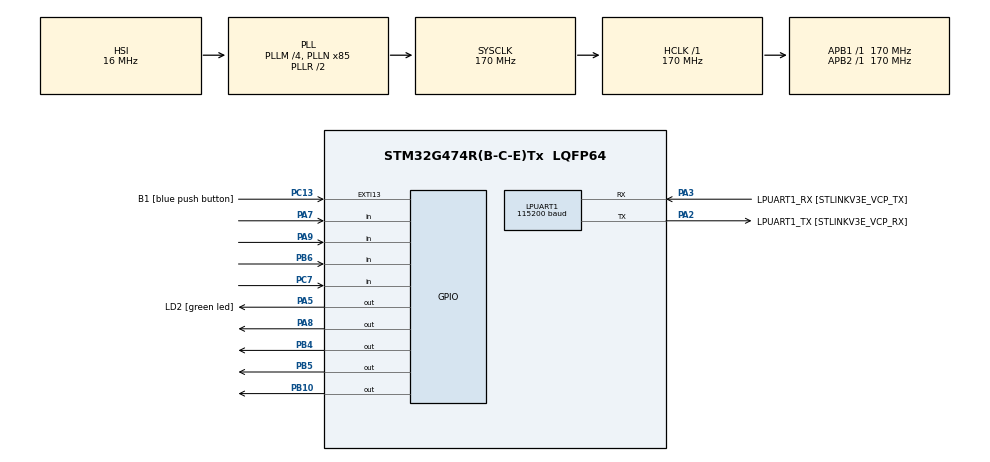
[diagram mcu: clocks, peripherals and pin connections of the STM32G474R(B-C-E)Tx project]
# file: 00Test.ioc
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LPUART1.BaudRate=115200
LPUART1.WordLength=UART_WORDLENGTH_8B
Mcu.Family=STM32G4
Mcu.Name=STM32G474R(B-C-E)Tx
Mcu.Package=LQFP64
NVIC.EXTI15_10_IRQn=true\:0\:0\:false\:false\:true\:true\:true\:true
NVIC.PriorityGroup=NVIC_PRIORITYGROUP_4
PA13.GPIO_Label=T_SWDIO
PA13.Mode=Serial_Wire
PA13.Signal=SYS_JTMS-SWDIO
PA14.GPIO_Label=T_SWCLK
PA14.Mode=Serial_Wire
PA14.Signal=SYS_JTCK-SWCLK
PA2.GPIO_Label=LPUART1_TX [STLINKV3E_VCP_RX]
PA2.Mode=Asynchronous
PA2.Signal=LPUART1_TX
PA3.GPIO_Label=LPUART1_RX [STLINKV3E_VCP_TX]
PA3.Mode=Asynchronous
PA3.Signal=LPUART1_RX
PA5.GPIO_Label=LD2 [green led]
PA5.GPIO_ModeDefaultOutputPP=GPIO_MODE_OUTPUT_PP
PA5.GPIO_PuPd=GPIO_NOPULL
PA5.Signal=GPIO_Output
PA7.GPIO_PuPd=GPIO_PULLUP
PA7.Signal=GPIO_Input
PA8.GPIO_ModeDefaultOutputPP=GPIO_MODE_OUTPUT_OD
PA8.GPIO_PuPd=GPIO_NOPULL
PA8.Signal=GPIO_Output
PA9.GPIO_PuPd=GPIO_PULLUP
PA9.Signal=GPIO_Input
PB10.GPIO_ModeDefaultOutputPP=GPIO_MODE_OUTPUT_OD
PB10.GPIO_PuPd=GPIO_NOPULL
PB10.Signal=GPIO_Output
PB3.GPIO_Label=T_SWO
PB3.Signal=SYS_JTDO-SWO
PB4.GPIO_ModeDefaultOutputPP=GPIO_MODE_OUTPUT_OD
PB4.GPIO_PuPd=GPIO_NOPULL
PB4.Signal=GPIO_Output
PB5.GPIO_ModeDefaultOutputPP=GPIO_MODE_OUTPUT_OD
PB5.GPIO_PuPd=GPIO_NOPULL
PB5.Signal=GPIO_Output
PB6.GPIO_PuPd=GPIO_PULLUP
PB6.Signal=GPIO_Input
PC13.GPIO_Label=B1 [blue push button]
PC13.Signal=GPXTI13
PC14-OSC32_IN.Mode=LSE-External-Oscillator
PC14-OSC32_IN.Signal=RCC_OSC32_IN
PC15-OSC32_OUT.Mode=LSE-External-Oscillator
PC15-OSC32_OUT.Signal=RCC_OSC32_OUT
PC7.GPIO_PuPd=GPIO_PULLUP
PC7.Signal=GPIO_Input
PF0-OSC_IN.Mode=HSE-External-Oscillator
PF0-OSC_IN.Signal=RCC_OSC_IN
PF1-OSC_OUT.Mode=HSE-External-Oscillator
PF1-OSC_OUT.Signal=RCC_OSC_OUT
ProjectManager.HeapSize=0x200
ProjectManager.StackSize=0x400
ProjectManager.TargetToolchain=STM32CubeIDE
RCC.ADC12Freq_Value=170000000
RCC.ADC345Freq_Value=170000000
RCC.AHBFreq_Value=170000000
RCC.APB1Freq_Value=170000000
RCC.APB1TimFreq_Value=170000000
RCC.APB2Freq_Value=170000000
RCC.APB2TimFreq_Value=170000000
RCC.CortexFreq_Value=170000000
RCC.EXTERNAL_CLOCK_VALUE=12288000
RCC.HCLKFreq_Value=170000000
RCC.HSE_VALUE=24000000
RCC.HSI48_VALUE=48000000
RCC.HSI_VALUE=16000000
RCC.PLLM=RCC_PLLM_DIV4
RCC.PLLN=85
RCC.RTCClockSelection=RCC_RTCCLKSOURCE_LSE
RCC.SYSCLKFreq_VALUE=170000000
RCC.SYSCLKSource=RCC_SYSCLKSOURCE_PLLCLK
RCC.USBFreq_Value=170000000
RCC.VCOOutputFreq_Value=340000000
VP_SYS_VS_DBSignals.Mode=DisableDeadBatterySignals
board=NUCLEO-G474RE

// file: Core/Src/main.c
/* USER CODE BEGIN Header */
/**
  ******************************************************************************
  * @file           : main.c
  * @brief          : Main program body
  ******************************************************************************
  * @attention
  *
  * Copyright (c) 2023 STMicroelectronics.
  * All rights reserved.
  *
  * This software is licensed under terms that can be found in the LICENSE file
  * in the root directory of this software component.
  * If no LICENSE file comes with this software, it is provided AS-IS.
  *
  ******************************************************************************
  */
/* USER CODE END Header */
#include "main.h"

UART_HandleTypeDef hlpuart1;

/* USER CODE BEGIN PV */
struct _ButMtx_Struct
{
GPIO_TypeDef* Port;
uint16_t Pin;
};

struct _ButMtx_Struct BMX_L[4] = {
{GPIOA,GPIO_PIN_9},
{GPIOC,GPIO_PIN_7},
{GPIOB,GPIO_PIN_6},
{GPIOA,GPIO_PIN_7}
};

struct _ButMtx_Struct BMX_R[4] = {
{GPIOB,GPIO_PIN_5},
{GPIOB,GPIO_PIN_4},
{GPIOB,GPIO_PIN_10},
{GPIOA,GPIO_PIN_8}
};

uint16_t ButtonState = 0;

/* USER CODE END PV */

void SystemClock_Config(void);
static void MX_GPIO_Init(void);
static void MX_LPUART1_UART_Init(void);
/* USER CODE BEGIN PFP */
void ButtonMatrixRead();

/* USER CODE END PFP */

int main(void)
{

  /* MCU Configuration--------------------------------------------------------*/

  /* Reset of all peripherals, Initializes the Flash interface and the Systick. */
  HAL_Init();

  /* Configure the system clock */
  SystemClock_Config();

  /* Initialize all configured peripherals */
  MX_GPIO_Init();
  MX_LPUART1_UART_Init();

  /* Infinite loop */
  while (1)
  {

    /* USER CODE BEGIN 3 */
  static uint32_t BTMX_TimeStamp = 0;
  if(HAL_GetTick() > BTMX_TimeStamp)
  {
  BTMX_TimeStamp = HAL_GetTick() + 25; //next scan in 25 ms
  ButtonMatrixRead();
  }
  }
  /* USER CODE END 3 */
}

void SystemClock_Config(void)
{
  RCC_OscInitTypeDef RCC_OscInitStruct = {0};
  RCC_ClkInitTypeDef RCC_ClkInitStruct = {0};

  /** Configure the main internal regulator output voltage
  */
  HAL_PWREx_ControlVoltageScaling(PWR_REGULATOR_VOLTAGE_SCALE1_BOOST);

  /** Initializes the RCC Oscillators according to the specified parameters
  * in the RCC_OscInitTypeDef structure.
  */
  RCC_OscInitStruct.OscillatorType = RCC_OSCILLATORTYPE_HSI;
  RCC_OscInitStruct.HSIState = RCC_HSI_ON;
  RCC_OscInitStruct.HSICalibrationValue = RCC_HSICALIBRATION_DEFAULT;
  RCC_OscInitStruct.PLL.PLLState = RCC_PLL_ON;
  RCC_OscInitStruct.PLL.PLLSource = RCC_PLLSOURCE_HSI;
  RCC_OscInitStruct.PLL.PLLM = RCC_PLLM_DIV4;
  RCC_OscInitStruct.PLL.PLLN = 85;
  RCC_OscInitStruct.PLL.PLLP = RCC_PLLP_DIV2;
  RCC_OscInitStruct.PLL.PLLQ = RCC_PLLQ_DIV2;
  RCC_OscInitStruct.PLL.PLLR = RCC_PLLR_DIV2;
  if (HAL_RCC_OscConfig(&RCC_OscInitStruct) != HAL_OK)
  {
    Error_Handler();
  }

  /** Initializes the CPU, AHB and APB buses clocks
  */
  RCC_ClkInitStruct.ClockType = RCC_CLOCKTYPE_HCLK|RCC_CLOCKTYPE_SYSCLK
                              |RCC_CLOCKTYPE_PCLK1|RCC_CLOCKTYPE_PCLK2;
  RCC_ClkInitStruct.SYSCLKSource = RCC_SYSCLKSOURCE_PLLCLK;
  RCC_ClkInitStruct.AHBCLKDivider = RCC_SYSCLK_DIV1;
  RCC_ClkInitStruct.APB1CLKDivider = RCC_HCLK_DIV1;
  RCC_ClkInitStruct.APB2CLKDivider = RCC_HCLK_DIV1;

  if (HAL_RCC_ClockConfig(&RCC_ClkInitStruct, FLASH_LATENCY_4) != HAL_OK)
  {
    Error_Handler();
  }
}

static void MX_LPUART1_UART_Init(void)
{

  hlpuart1.Instance = LPUART1;
  hlpuart1.Init.BaudRate = 115200;
  hlpuart1.Init.WordLength = UART_WORDLENGTH_8B;
  hlpuart1.Init.StopBits = UART_STOPBITS_1;
  hlpuart1.Init.Parity = UART_PARITY_NONE;
  hlpuart1.Init.Mode = UART_MODE_TX_RX;
  hlpuart1.Init.HwFlowCtl = UART_HWCONTROL_NONE;
  hlpuart1.Init.OneBitSampling = UART_ONE_BIT_SAMPLE_DISABLE;
  hlpuart1.Init.ClockPrescaler = UART_PRESCALER_DIV1;
  hlpuart1.AdvancedInit.AdvFeatureInit = UART_ADVFEATURE_NO_INIT;
  if (HAL_UART_Init(&hlpuart1) != HAL_OK)
  {
    Error_Handler();
  }
  if (HAL_UARTEx_SetTxFifoThreshold(&hlpuart1, UART_TXFIFO_THRESHOLD_1_8) != HAL_OK)
  {
    Error_Handler();
  }
  if (HAL_UARTEx_SetRxFifoThreshold(&hlpuart1, UART_RXFIFO_THRESHOLD_1_8) != HAL_OK)
  {
    Error_Handler();
  }
  if (HAL_UARTEx_DisableFifoMode(&hlpuart1) != HAL_OK)
  {
    Error_Handler();
  }

}

static void MX_GPIO_Init(void)
{
  GPIO_InitTypeDef GPIO_InitStruct = {0};

  /* GPIO Ports Clock Enable */
  __HAL_RCC_GPIOC_CLK_ENABLE();
  __HAL_RCC_GPIOF_CLK_ENABLE();
  __HAL_RCC_GPIOA_CLK_ENABLE();
  __HAL_RCC_GPIOB_CLK_ENABLE();

  /*Configure GPIO pin Output Level */
  HAL_GPIO_WritePin(GPIOA, LD2_Pin|GPIO_PIN_8, GPIO_PIN_RESET);

  /*Configure GPIO pin Output Level */
  HAL_GPIO_WritePin(GPIOB, GPIO_PIN_10|GPIO_PIN_4|GPIO_PIN_5, GPIO_PIN_RESET);

  /*Configure GPIO pin : B1_Pin */
  GPIO_InitStruct.Pin = B1_Pin;
  GPIO_InitStruct.Mode = GPIO_MODE_IT_RISING;
  GPIO_InitStruct.Pull = GPIO_NOPULL;
  HAL_GPIO_Init(B1_GPIO_Port, &GPIO_InitStruct);

  /*Configure GPIO pin : LD2_Pin */
  GPIO_InitStruct.Pin = LD2_Pin;
  GPIO_InitStruct.Mode = GPIO_MODE_OUTPUT_PP;
  GPIO_InitStruct.Pull = GPIO_NOPULL;
  GPIO_InitStruct.Speed = GPIO_SPEED_FREQ_LOW;
  HAL_GPIO_Init(LD2_GPIO_Port, &GPIO_InitStruct);

  /*Configure GPIO pins : PA7 PA9 */
  GPIO_InitStruct.Pin = GPIO_PIN_7|GPIO_PIN_9;
  GPIO_InitStruct.Mode = GPIO_MODE_INPUT;
  GPIO_InitStruct.Pull = GPIO_PULLUP;
  HAL_GPIO_Init(GPIOA, &GPIO_InitStruct);

  /*Configure GPIO pins : PB10 PB4 PB5 */
  GPIO_InitStruct.Pin = GPIO_PIN_10|GPIO_PIN_4|GPIO_PIN_5;
  GPIO_InitStruct.Mode = GPIO_MODE_OUTPUT_OD;
  GPIO_InitStruct.Pull = GPIO_NOPULL;
  GPIO_InitStruct.Speed = GPIO_SPEED_FREQ_LOW;
  HAL_GPIO_Init(GPIOB, &GPIO_InitStruct);

  /*Configure GPIO pin : PC7 */
  GPIO_InitStruct.Pin = GPIO_PIN_7;
  GPIO_InitStruct.Mode = GPIO_MODE_INPUT;
  GPIO_InitStruct.Pull = GPIO_PULLUP;
  HAL_GPIO_Init(GPIOC, &GPIO_InitStruct);

  /*Configure GPIO pin : PA8 */
  GPIO_InitStruct.Pin = GPIO_PIN_8;
  GPIO_InitStruct.Mode = GPIO_MODE_OUTPUT_OD;
  GPIO_InitStruct.Pull = GPIO_NOPULL;
  GPIO_InitStruct.Speed = GPIO_SPEED_FREQ_LOW;
  HAL_GPIO_Init(GPIOA, &GPIO_InitStruct);

  /*Configure GPIO pin : PB6 */
  GPIO_InitStruct.Pin = GPIO_PIN_6;
  GPIO_InitStruct.Mode = GPIO_MODE_INPUT;
  GPIO_InitStruct.Pull = GPIO_PULLUP;
  HAL_GPIO_Init(GPIOB, &GPIO_InitStruct);

  /* EXTI interrupt init*/
  HAL_NVIC_SetPriority(EXTI15_10_IRQn, 0, 0);
  HAL_NVIC_EnableIRQ(EXTI15_10_IRQn);

}

/* USER CODE BEGIN 4 */
void HAL_GPIO_EXTI_Callback(uint16_t GPIO_Pin)
{
if(GPIO_Pin == GPIO_PIN_13)
{
HAL_GPIO_TogglePin(GPIOA, GPIO_PIN_5);
}
}
void ButtonMatrixRead(){
static uint8_t X=0;
for(int i=0; i<4; i++)
{
if(HAL_GPIO_ReadPin(BMX_L[i].Port, BMX_L[i].Pin) == GPIO_PIN_RESET)
{ //�?ุ�?มถู�?�?ด
ButtonState |= 1 << (i + (X * 4));
}
else
{
ButtonState &= ~(1 << (i + (X * 4)));
}
}
//set currentL to Hi-z (open drain)
HAL_GPIO_WritePin(BMX_R[X].Port, BMX_R[X].Pin, GPIO_PIN_SET);
//set nextL to low
uint8_t nextX = (X + 1) % 4;
HAL_GPIO_WritePin(BMX_R[nextX].Port, BMX_R[nextX].Pin, GPIO_PIN_RESET);
X = nextX;
}

/* USER CODE END 4 */

void Error_Handler(void)
{
  __disable_irq();
  while (1)
  {
  }
}
